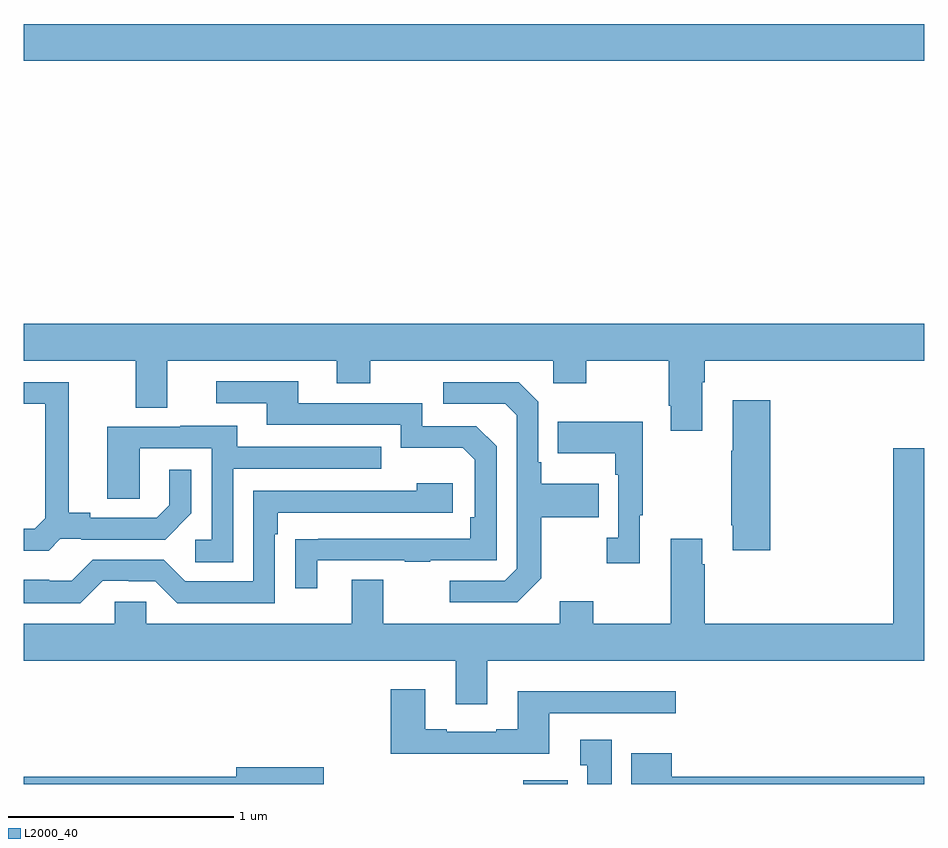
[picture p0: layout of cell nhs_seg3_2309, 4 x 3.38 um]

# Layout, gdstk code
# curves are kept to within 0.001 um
import gdstk
lib = gdstk.Library(unit=1e-6, precision=1e-09)
def R(c, l, rs):  # rectangles x0, y0, x1, y1
    for r in rs: c.add(gdstk.rectangle(r[:2], r[2:], *l))
def P(c, l, *ps):  # polygons
    for p in ps: c.add(gdstk.Polygon(p, *l))
L2000_40 = (2000, 40)

nhs_seg3_2309 = lib.new_cell('nhs_seg3_2309')
R(nhs_seg3_2309, L2000_40, [(233.219,668.4,233.416,668.416), (231,671.612,235,671.776)])
P(nhs_seg3_2309, L2000_40, [(234.013,670.184),(234.026,670.184),(234.026,670.28),(235,670.28),(235,670.444),(231,670.444),(231,670.28),(231.497,670.28),(231.497,670.072),(231.637,670.072),(231.637,670.28),(232.391,670.28),(232.391,670.181),(232.539,670.181),(232.539,670.28),(233.352,670.28),(233.352,670.181),(233.499,670.181),(233.499,670.28),(233.866,670.28),(233.866,670.081),(233.873,670.081),(233.873,669.969),(234.013,669.969)],
  [(232.303,669.393),(232.693,669.393),(232.693,669.388),(232.805,669.388),(232.805,669.393),(233.1,669.393),(233.1,669.9),(233.01,669.99),(232.77,669.99),(232.77,670.092),(232.219,670.092),(232.219,670.188),(231.855,670.188),(231.855,670.092),(232.079,670.092),(232.079,669.996),(232.674,669.996),(232.674,669.893),(232.951,669.893),(233.004,669.84),(233.004,669.586),(232.984,669.586),(232.984,669.489),(232.207,669.488),(232.207,669.27),(232.303,669.27)],
  [(233.299,669.313),(233.299,669.586),(233.555,669.586),(233.555,669.733),(233.299,669.733),(233.299,669.829),(233.286,669.829),(233.286,670.098),(233.199,670.185),(232.863,670.185),(232.863,670.089),(233.139,670.089),(233.19,670.038),(233.19,669.357),(233.136,669.303),(232.893,669.303),(232.893,669.207),(233.193,669.207)],
  [(231.162,669.489),(231.256,669.489),(231.256,669.486),(231.628,669.486),(231.744,669.602),(231.744,669.796),(231.647,669.796),(231.647,669.639),(231.59,669.582),(231.295,669.582),(231.295,669.605),(231.199,669.605),(231.199,670.185),(231,670.185),(231,670.089),(231.095,670.089),(231.095,669.581),(231.048,669.534),(231,669.534),(231,669.437),(231.11,669.437)],
  [(234.317,670.105),(234.149,670.105),(234.149,669.881),(234.142,669.881),(234.142,669.55),(234.149,669.55),(234.149,669.438),(234.317,669.438)],
  [(233.737,669.593),(233.749,669.593),(233.749,670.009),(233.371,670.009),(233.371,669.869),(233.628,669.869),(233.628,669.773),(233.64,669.773),(233.64,669.494),(233.589,669.494),(233.589,669.381),(233.737,669.381)],
  [(231.93,669.801),(232.589,669.801),(232.589,669.897),(231.949,669.897),(231.949,669.991),(231.695,669.991),(231.695,669.987),(231.371,669.987),(231.371,669.667),(231.516,669.667),(231.516,669.891),(231.834,669.891),(231.834,669.486),(231.762,669.486),(231.762,669.385),(231.93,669.385)],
  [(233.059,668.948),(235,668.948),(235,669.892),(234.863,669.892),(234.863,669.112),(234.026,669.112),(234.026,669.377),(234.013,669.377),(234.013,669.49),(233.873,669.49),(233.873,669.112),(233.529,669.112),(233.529,669.211),(233.381,669.211),(233.381,669.112),(232.597,669.112),(232.597,669.307),(232.457,669.307),(232.457,669.112),(231.543,669.112),(231.543,669.21),(231.405,669.21),(231.405,669.112),(231,669.112),(231,668.948),(232.919,668.948),(232.919,668.754),(233.059,668.754)],
  [(231.351,669.303),(231.467,669.303),(231.467,669.3),(231.585,669.3),(231.681,669.204),(232.116,669.204),(232.116,669.509),(232.129,669.509),(232.129,669.606),(232.906,669.606),(232.906,669.736),(232.745,669.736),(232.745,669.702),(232.02,669.702),(232.02,669.3),(231.717,669.3),(231.621,669.396),(231.306,669.396),(231.213,669.303),(231.113,669.303),(231.113,669.307),(231,669.307),(231,669.203),(231.251,669.203)],
  [(233.335,668.715),(233.896,668.715),(233.896,668.812),(233.195,668.812),(233.195,668.644),(233.099,668.644),(233.099,668.631),(232.879,668.631),(232.879,668.644),(232.783,668.644),(232.783,668.821),(232.631,668.821),(232.631,668.534),(233.335,668.534)],
  [(233.611,668.596),(233.471,668.596),(233.471,668.483),(233.504,668.483),(233.504,668.4),(233.611,668.4)],
  [(235,668.432),(233.878,668.432),(233.878,668.536),(233.699,668.536),(233.699,668.4),(235,668.4)],
  [(232.333,668.475),(231.944,668.475),(231.944,668.432),(231,668.432),(231,668.4),(232.333,668.4)])

lib.write_gds('nhs_seg3_2309.gds')
